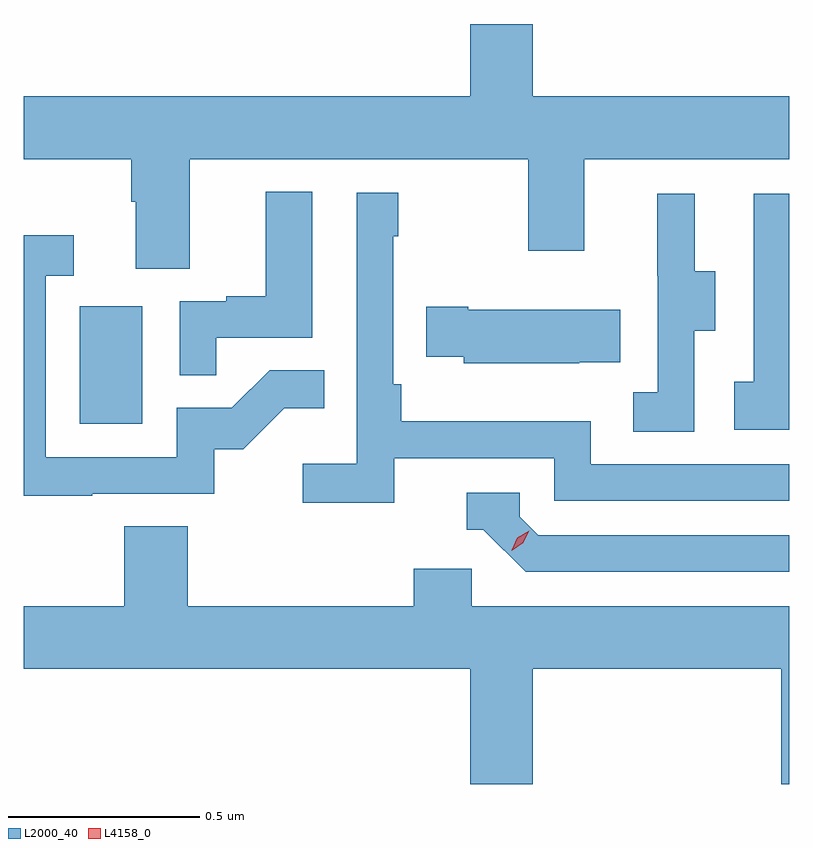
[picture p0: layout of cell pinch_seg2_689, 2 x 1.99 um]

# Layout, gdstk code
import gdstk
lib = gdstk.Library(unit=1e-6, precision=1e-09)
def R(c, l, rs):  # rectangles x0, y0, x1, y1
    for r in rs: c.add(gdstk.rectangle(r[:2], r[2:], *l))
def P(c, l, *ps):  # polygons
    for p in ps: c.add(gdstk.Polygon(p, *l))
L2000_40 = (2000, 40)
L4158_0 = (4158, 0)

pinch_seg2_689 = lib.new_cell('pinch_seg2_689')
R(pinch_seg2_689, L2000_40, [(1039.112,594.996,1039.276,595.303)])
P(pinch_seg2_689, L2000_40, [(1039.399,595.688),(1040.284,595.688),(1040.284,595.449),(1040.431,595.449),(1040.431,595.688),(1040.966,595.688),(1040.966,595.852),(1040.296,595.852),(1040.296,596.041),(1040.132,596.041),(1040.132,595.852),(1038.966,595.852),(1038.966,595.688),(1039.247,595.688),(1039.247,595.576),(1039.259,595.576),(1039.259,595.402),(1039.399,595.402)],
  [(1039.469,595.221),(1039.72,595.221),(1039.72,595.603),(1039.598,595.603),(1039.598,595.33),(1039.495,595.33),(1039.495,595.317),(1039.374,595.317),(1039.374,595.123),(1039.469,595.123)],
  [(1039.934,594.906),(1040.352,594.906),(1040.352,594.795),(1040.966,594.795),(1040.966,594.891),(1040.448,594.891),(1040.448,595.003),(1039.952,595.003),(1039.952,595.099),(1039.932,595.099),(1039.932,595.487),(1039.945,595.487),(1039.945,595.6),(1039.836,595.6),(1039.836,594.892),(1039.695,594.892),(1039.695,594.79),(1039.934,594.79)],
  [(1040.966,595.597),(1040.874,595.597),(1040.874,595.106),(1040.823,595.106),(1040.823,594.981),(1040.966,594.981)],
  [(1040.718,595.24),(1040.773,595.24),(1040.773,595.395),(1040.719,595.395),(1040.719,595.597),(1040.621,595.597),(1040.621,595.383),(1040.622,595.383),(1040.622,595.079),(1040.559,595.079),(1040.559,594.976),(1040.718,594.976)],
  [(1039.145,594.813),(1039.464,594.813),(1039.464,594.93),(1039.54,594.93),(1039.647,595.037),(1039.751,595.037),(1039.751,595.136),(1039.608,595.136),(1039.51,595.038),(1039.365,595.038),(1039.365,594.909),(1039.023,594.909),(1039.023,595.383),(1039.096,595.383),(1039.096,595.489),(1038.966,595.489),(1038.966,594.808),(1039.145,594.808)],
  [(1040.417,595.157),(1040.525,595.157),(1040.525,595.294),(1040.128,595.294),(1040.128,595.302),(1040.017,595.302),(1040.017,595.172),(1040.115,595.172),(1040.115,595.154),(1040.417,595.154)],
  [(1040.966,594.705),(1040.31,594.705),(1040.262,594.753),(1040.262,594.816),(1040.123,594.816),(1040.123,594.72),(1040.166,594.72),(1040.277,594.609),(1040.966,594.609)],
  [(1040.296,594.356),(1040.945,594.356),(1040.945,594.055),(1040.966,594.055),(1040.966,594.52),(1040.136,594.52),(1040.136,594.618),(1039.985,594.618),(1039.985,594.52),(1039.394,594.52),(1039.394,594.728),(1039.228,594.728),(1039.228,594.52),(1038.966,594.52),(1038.966,594.356),(1040.132,594.356),(1040.132,594.055),(1040.296,594.055)])
P(pinch_seg2_689, L4158_0, [(1040.241,594.665),(1040.241,594.666),(1040.256,594.698),(1040.287,594.717),(1040.287,594.717),(1040.287,594.717),(1040.271,594.685),(1040.241,594.665)])

lib.write_gds('pinch_seg2_689.gds')
